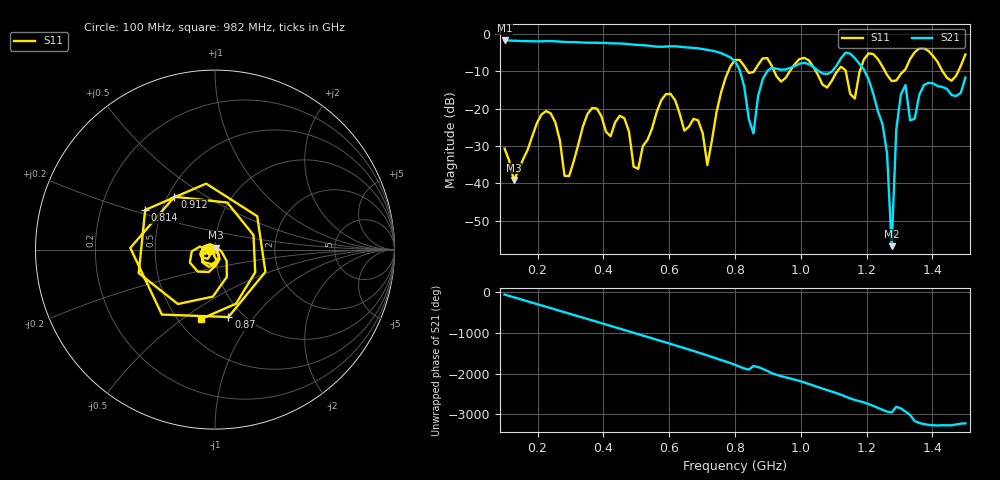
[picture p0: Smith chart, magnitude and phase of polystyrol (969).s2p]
! NanoVNA-App
! Date: 2025-09-25 15:37:25
! Start: 100MHz Stop: 1,5GHz Points: 101
! S-Parameter data: F S11 S21 S12 S22
# Hz S RI R 50
!  Frequency  S11_Real  S11_Imag  S21_Real  S21_Imag  S12_Real  S12_Imag  S22_Real  S22_Imag
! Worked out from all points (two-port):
!   101 points, 100 MHz to 1.5 GHz, reference 50 ohm
!   highest |S21| = -1.80 dB at 100 MHz (marker M1); lowest = -56.8 dB at 1.276 GHz (marker M2)
!   |S21| within 3 dB of the highest: start of sweep to 743 MHz
!   lowest |S11| = -39.1 dB at 128 MHz (marker M3), VSWR 1.02, Z = 50.3 + j1.06 ohm
!   |S11| at or under -10 dB: start of sweep to 779.8 MHz; 1.046 GHz to 1.111 GHz (65.44 MHz wide, 6.07 % of centre); 1.256 GHz to 1.312 GHz (56.34 MHz wide, 4.39 % of centre) (the widest 3 of 7)
!   S12 and S22 are empty: the file has one direction only
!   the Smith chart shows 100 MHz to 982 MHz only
!   S11 on the Smith chart (normalised r, x): 100 MHz: 0.94, -0.01; 814 MHz: 0.40, +0.22; 870 MHz: 0.86, -0.75; 912 MHz: 0.54, +0.37; 982 MHz: 0.64, -0.59
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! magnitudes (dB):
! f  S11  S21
! 100 MHz  -30.7  -1.8
! 128 MHz  -39.1  -1.9
! 212 MHz  -21.6  -2.0
! 282 MHz  -38.0  -2.2
! 338 MHz  -24.7  -2.4
! 506 MHz  -36.1  -3.0
! 576 MHz  -17.8  -3.5
! 716 MHz  -35.1  -4.3
! 800 MHz  -7.0  -7.4
! 814 MHz  -7.0  -9.6
! 856 MHz  -10.3  -26.6
! 870 MHz  -8.3  -16.8
! 912 MHz  -8.6  -9.0
! 982 MHz  -8.1  -8.6
! 1.038 GHz  -8.8  -8.9
! 1.164 GHz  -17.3  -6.5
! 1.206 GHz  -5.3  -12.2
! 1.262 GHz  -11.0  -32.0
! 1.276 GHz  -12.7  -56.8
! 1.29 GHz  -12.5  -25.6
! 1.304 GHz  -10.7  -16.2
! 1.5 GHz  -5.6  -11.7
